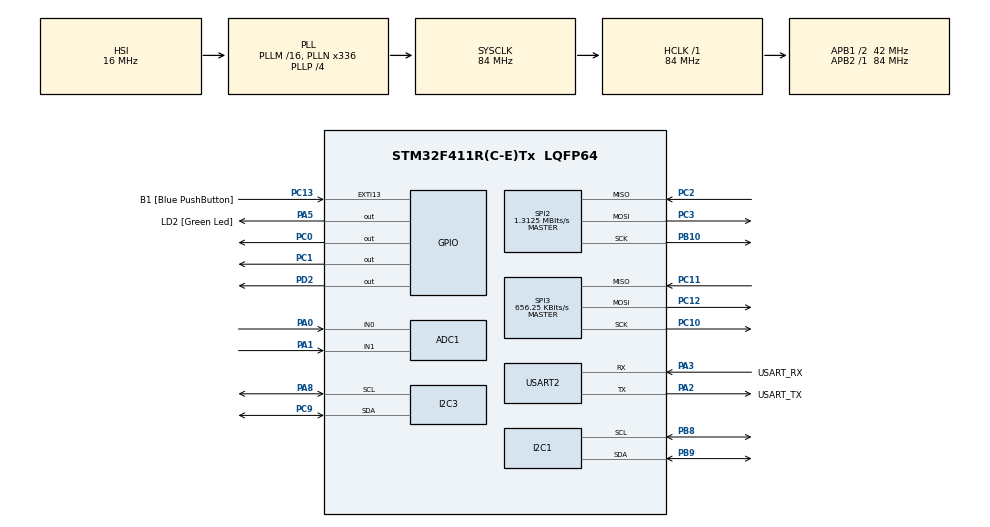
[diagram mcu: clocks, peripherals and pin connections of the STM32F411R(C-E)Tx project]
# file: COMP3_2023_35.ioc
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ADC1.Channel-0\#ChannelRegularConversion=ADC_CHANNEL_0
ADC1.Channel-1\#ChannelRegularConversion=ADC_CHANNEL_1
ADC1.ContinuousConvMode=ENABLE
ADC1.DMAContinuousRequests=ENABLE
ADC1.NbrOfConversion=2
ADC1.NbrOfConversionFlag=1
ADC1.Rank-0\#ChannelRegularConversion=1
ADC1.Rank-1\#ChannelRegularConversion=2
ADC1.SamplingTime-0\#ChannelRegularConversion=ADC_SAMPLETIME_56CYCLES
ADC1.SamplingTime-1\#ChannelRegularConversion=ADC_SAMPLETIME_56CYCLES
ADC1.master=1
Dma.ADC1.4.Direction=DMA_PERIPH_TO_MEMORY
Dma.ADC1.4.FIFOMode=DMA_FIFOMODE_DISABLE
Dma.ADC1.4.Instance=DMA2_Stream0
Dma.ADC1.4.MemDataAlignment=DMA_MDATAALIGN_HALFWORD
Dma.ADC1.4.MemInc=DMA_MINC_ENABLE
Dma.ADC1.4.Mode=DMA_CIRCULAR
Dma.ADC1.4.PeriphDataAlignment=DMA_PDATAALIGN_HALFWORD
Dma.ADC1.4.PeriphInc=DMA_PINC_DISABLE
Dma.ADC1.4.Priority=DMA_PRIORITY_LOW
Dma.I2C1_RX.2.Direction=DMA_PERIPH_TO_MEMORY
Dma.I2C1_RX.2.FIFOMode=DMA_FIFOMODE_DISABLE
Dma.I2C1_RX.2.Instance=DMA1_Stream0
Dma.I2C1_RX.2.MemDataAlignment=DMA_MDATAALIGN_WORD
Dma.I2C1_RX.2.MemInc=DMA_MINC_ENABLE
Dma.I2C1_RX.2.Mode=DMA_NORMAL
Dma.I2C1_RX.2.PeriphDataAlignment=DMA_PDATAALIGN_WORD
Dma.I2C1_RX.2.PeriphInc=DMA_PINC_DISABLE
Dma.I2C1_RX.2.Priority=DMA_PRIORITY_LOW
Dma.I2C1_TX.3.Direction=DMA_MEMORY_TO_PERIPH
Dma.I2C1_TX.3.FIFOMode=DMA_FIFOMODE_DISABLE
Dma.I2C1_TX.3.Instance=DMA1_Stream1
Dma.I2C1_TX.3.MemDataAlignment=DMA_MDATAALIGN_WORD
Dma.I2C1_TX.3.MemInc=DMA_MINC_ENABLE
Dma.I2C1_TX.3.Mode=DMA_NORMAL
Dma.I2C1_TX.3.PeriphDataAlignment=DMA_PDATAALIGN_WORD
Dma.I2C1_TX.3.PeriphInc=DMA_PINC_DISABLE
Dma.I2C1_TX.3.Priority=DMA_PRIORITY_LOW
Dma.I2C3_RX.5.Direction=DMA_PERIPH_TO_MEMORY
Dma.I2C3_RX.5.FIFOMode=DMA_FIFOMODE_DISABLE
Dma.I2C3_RX.5.Instance=DMA1_Stream2
Dma.I2C3_RX.5.MemDataAlignment=DMA_MDATAALIGN_BYTE
Dma.I2C3_RX.5.MemInc=DMA_MINC_ENABLE
Dma.I2C3_RX.5.Mode=DMA_NORMAL
Dma.I2C3_RX.5.PeriphDataAlignment=DMA_PDATAALIGN_BYTE
Dma.I2C3_RX.5.PeriphInc=DMA_PINC_DISABLE
Dma.I2C3_RX.5.Priority=DMA_PRIORITY_LOW
Dma.I2C3_TX.6.Direction=DMA_MEMORY_TO_PERIPH
Dma.I2C3_TX.6.FIFOMode=DMA_FIFOMODE_DISABLE
Dma.I2C3_TX.6.Instance=DMA1_Stream4
Dma.I2C3_TX.6.MemDataAlignment=DMA_MDATAALIGN_BYTE
Dma.I2C3_TX.6.MemInc=DMA_MINC_ENABLE
Dma.I2C3_TX.6.Mode=DMA_NORMAL
Dma.I2C3_TX.6.PeriphDataAlignment=DMA_PDATAALIGN_BYTE
Dma.I2C3_TX.6.PeriphInc=DMA_PINC_DISABLE
Dma.I2C3_TX.6.Priority=DMA_PRIORITY_LOW
Dma.Request0=USART2_RX
Dma.Request1=USART2_TX
Dma.Request2=I2C1_RX
Dma.Request3=I2C1_TX
Dma.Request4=ADC1
Dma.Request5=I2C3_RX
Dma.Request6=I2C3_TX
Dma.USART2_RX.0.Direction=DMA_PERIPH_TO_MEMORY
Dma.USART2_RX.0.FIFOMode=DMA_FIFOMODE_DISABLE
Dma.USART2_RX.0.Instance=DMA1_Stream5
Dma.USART2_RX.0.MemDataAlignment=DMA_MDATAALIGN_BYTE
Dma.USART2_RX.0.MemInc=DMA_MINC_ENABLE
Dma.USART2_RX.0.Mode=DMA_CIRCULAR
Dma.USART2_RX.0.PeriphDataAlignment=DMA_PDATAALIGN_BYTE
Dma.USART2_RX.0.PeriphInc=DMA_PINC_DISABLE
Dma.USART2_RX.0.Priority=DMA_PRIORITY_LOW
Dma.USART2_TX.1.Direction=DMA_MEMORY_TO_PERIPH
Dma.USART2_TX.1.FIFOMode=DMA_FIFOMODE_DISABLE
Dma.USART2_TX.1.Instance=DMA1_Stream6
Dma.USART2_TX.1.MemDataAlignment=DMA_MDATAALIGN_BYTE
Dma.USART2_TX.1.MemInc=DMA_MINC_ENABLE
Dma.USART2_TX.1.Mode=DMA_NORMAL
Dma.USART2_TX.1.PeriphDataAlignment=DMA_PDATAALIGN_BYTE
Dma.USART2_TX.1.PeriphInc=DMA_PINC_DISABLE
Dma.USART2_TX.1.Priority=DMA_PRIORITY_LOW
I2C1.I2C_Mode=I2C_Fast
I2C3.I2C_Mode=I2C_Fast
Mcu.Family=STM32F4
Mcu.Name=STM32F411R(C-E)Tx
Mcu.Package=LQFP64
NVIC.DMA1_Stream0_IRQn=true\:0\:0\:false\:false\:true\:false\:true\:true
NVIC.DMA1_Stream1_IRQn=true\:0\:0\:false\:false\:true\:false\:true\:true
NVIC.DMA1_Stream2_IRQn=true\:0\:0\:false\:false\:true\:false\:true\:true
NVIC.DMA1_Stream4_IRQn=true\:0\:0\:false\:false\:true\:false\:true\:true
NVIC.DMA1_Stream5_IRQn=true\:0\:0\:false\:false\:true\:false\:true\:true
NVIC.DMA1_Stream6_IRQn=true\:0\:0\:false\:false\:true\:false\:true\:true
NVIC.DMA2_Stream0_IRQn=true\:0\:0\:false\:false\:true\:false\:true\:true
NVIC.I2C1_ER_IRQn=true\:0\:0\:false\:false\:true\:true\:true\:true
NVIC.I2C1_EV_IRQn=true\:0\:0\:false\:false\:true\:true\:true\:true
NVIC.I2C3_ER_IRQn=true\:0\:0\:false\:false\:true\:true\:true\:true
NVIC.I2C3_EV_IRQn=true\:0\:0\:false\:false\:true\:true\:true\:true
NVIC.PriorityGroup=NVIC_PRIORITYGROUP_0
NVIC.SPI2_IRQn=true\:0\:0\:false\:false\:true\:true\:true\:true
NVIC.SPI3_IRQn=true\:0\:0\:false\:false\:true\:true\:true\:true
NVIC.USART2_IRQn=true\:0\:0\:false\:false\:true\:true\:true\:true
PA0-WKUP.Signal=ADCx_IN0
PA1.Signal=ADCx_IN1
PA13.GPIO_Label=TMS
PA13.Mode=Serial_Wire
PA13.Signal=SYS_JTMS-SWDIO
PA14.GPIO_Label=TCK
PA14.Mode=Serial_Wire
PA14.Signal=SYS_JTCK-SWCLK
PA2.GPIO_Label=USART_TX
PA2.Mode=Asynchronous
PA2.Signal=USART2_TX
PA3.GPIO_Label=USART_RX
PA3.Mode=Asynchronous
PA3.Signal=USART2_RX
PA5.GPIO_Label=LD2 [Green Led]
PA5.Signal=GPIO_Output
PA8.Mode=I2C
PA8.Signal=I2C3_SCL
PB10.Mode=Full_Duplex_Master
PB10.Signal=SPI2_SCK
PB3.GPIO_Label=SWO
PB3.Signal=SYS_JTDO-SWO
PB8.Mode=I2C
PB8.Signal=I2C1_SCL
PB9.Mode=I2C
PB9.Signal=I2C1_SDA
PC0.PinState=GPIO_PIN_SET
PC0.Signal=GPIO_Output
PC1.PinState=GPIO_PIN_SET
PC1.Signal=GPIO_Output
PC10.Mode=Full_Duplex_Master
PC10.Signal=SPI3_SCK
PC11.Mode=Full_Duplex_Master
PC11.Signal=SPI3_MISO
PC12.Mode=Full_Duplex_Master
PC12.Signal=SPI3_MOSI
PC13-ANTI_TAMP.GPIO_Label=B1 [Blue PushButton]
PC13-ANTI_TAMP.GPIO_ModeDefaultEXTI=GPIO_MODE_IT_FALLING
PC13-ANTI_TAMP.Signal=GPXTI13
PC14-OSC32_IN.Mode=LSE-External-Oscillator
PC14-OSC32_IN.Signal=RCC_OSC32_IN
PC15-OSC32_OUT.Mode=LSE-External-Oscillator
PC15-OSC32_OUT.Signal=RCC_OSC32_OUT
PC2.Mode=Full_Duplex_Master
PC2.Signal=SPI2_MISO
PC3.Mode=Full_Duplex_Master
PC3.Signal=SPI2_MOSI
PC9.Mode=I2C
PC9.Signal=I2C3_SDA
PD2.PinState=GPIO_PIN_SET
PD2.Signal=GPIO_Output
PH0\ -\ OSC_IN.Mode=HSE-External-Clock-Source
PH0\ -\ OSC_IN.Signal=RCC_OSC_IN
PH1\ -\ OSC_OUT.Mode=HSE-External-Clock-Source
PH1\ -\ OSC_OUT.Signal=RCC_OSC_OUT
ProjectManager.HeapSize=0x200
ProjectManager.StackSize=0x400
ProjectManager.TargetToolchain=STM32CubeIDE
RCC.48MHZClocksFreq_Value=84000000
RCC.AHBFreq_Value=84000000
RCC.APB1CLKDivider=RCC_HCLK_DIV2
RCC.APB1Freq_Value=42000000
RCC.APB1TimFreq_Value=84000000
RCC.APB2Freq_Value=84000000
RCC.APB2TimFreq_Value=84000000
RCC.CortexFreq_Value=84000000
RCC.FLatency-AdvancedSettings=FLASH_LATENCY_2
RCC.HCLKFreq_Value=84000000
RCC.HSE_VALUE=8000000
RCC.HSI_VALUE=16000000
RCC.PLLN=336
RCC.PLLP=RCC_PLLP_DIV4
RCC.SYSCLKFreq_VALUE=84000000
RCC.SYSCLKSource=RCC_SYSCLKSOURCE_PLLCLK
RCC.VCOOutputFreq_Value=336000000
SH.ADCx_IN0.0=ADC1_IN0,IN0
SH.ADCx_IN1.0=ADC1_IN1,IN1
SPI2.BaudRatePrescaler=SPI_BAUDRATEPRESCALER_32
SPI2.CLKPhase=SPI_PHASE_2EDGE
SPI2.CLKPolarity=SPI_POLARITY_HIGH
SPI2.CalculateBaudRate=1.3125 MBits/s
SPI2.DataSize=SPI_DATASIZE_16BIT
SPI2.Direction=SPI_DIRECTION_2LINES
SPI2.Mode=SPI_MODE_MASTER
SPI2.VirtualType=VM_MASTER
SPI3.BaudRatePrescaler=SPI_BAUDRATEPRESCALER_64
SPI3.CLKPhase=SPI_PHASE_2EDGE
SPI3.CLKPolarity=SPI_POLARITY_HIGH
SPI3.CalculateBaudRate=656.25 KBits/s
SPI3.Direction=SPI_DIRECTION_2LINES
SPI3.Mode=SPI_MODE_MASTER
SPI3.VirtualType=VM_MASTER
USART2.StopBits=STOPBITS_1
USART2.VirtualMode=VM_ASYNC
board=NUCLEO-F411RE

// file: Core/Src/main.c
/* USER CODE BEGIN Header */
/**
  ******************************************************************************
  * @file           : main.c
  * @brief          : Main program body
  ******************************************************************************
  * @attention
  *
  * Copyright (c) 2023 STMicroelectronics.
  * All rights reserved.
  *
  * This software is licensed under terms that can be found in the LICENSE file
  * in the root directory of this software component.
  * If no LICENSE file comes with this software, it is provided AS-IS.
  *
  ******************************************************************************
  */
/* USER CODE END Header */
#include "main.h"

/* USER CODE BEGIN Includes */

#include "stdio.h"
#include "string.h"

/* USER CODE END Includes */

/* USER CODE BEGIN PD */

#define EEPROM_ADDR 0b10100000

/* USER CODE END PD */

ADC_HandleTypeDef hadc1;
DMA_HandleTypeDef hdma_adc1;

I2C_HandleTypeDef hi2c1;
I2C_HandleTypeDef hi2c3;
DMA_HandleTypeDef hdma_i2c1_rx;
DMA_HandleTypeDef hdma_i2c1_tx;
DMA_HandleTypeDef hdma_i2c3_rx;
DMA_HandleTypeDef hdma_i2c3_tx;

SPI_HandleTypeDef hspi2;
SPI_HandleTypeDef hspi3;

UART_HandleTypeDef huart2;
DMA_HandleTypeDef hdma_usart2_rx;
DMA_HandleTypeDef hdma_usart2_tx;

/* USER CODE BEGIN PV */

// Ceaser_Cipher
// 2 stop bit and 115200
uint8_t RxBuffer[2];
uint8_t TxBuffer[100];
int button;
char character;
int condition = 0;
char state;

// calculator
uint8_t receive[2];
char sign;
char first_number;
char second_number;
char equal;
int state_cal = 0;
int condition_cal = 0;
uint16_t Answer = 0;

// PID 24LC64
// SCL-PB8,SDA-PB9
uint32_t Kp = 0x12;
uint8_t Kp_sep[4];
uint32_t Ki = 0x22;
uint8_t Ki_sep[4];
uint32_t Kd = 0x13;
uint8_t Kd_sep[4];
uint32_t Kff = 0x44;
uint8_t Kff_sep[4];
uint8_t eepromWriteF = 0;
uint8_t eepromReadF = 0;
uint8_t eepromReadBack[16];
uint8_t PID_data[16];

// SPI_LED_5
// CS-PD2, SCK-PC10, MOSI-PC12, MISO-PC11
uint8_t SPIRx[10];
uint8_t SPITx[10];
uint8_t LEDstate = 0;

// SPI_VOLT_ADC_6
uint16_t VOLTRx[16];
uint16_t VOLTTx[16];
//uint8_t LEDstate = 0;
uint16_t adcRawData[30];
float Voltage = 0;
float sum_Voltage = 0;
float avg_Voltage = 0;

uint32_t timestamp = 0;

/* USER CODE END PV */

void SystemClock_Config(void);
static void MX_GPIO_Init(void);
static void MX_DMA_Init(void);
static void MX_USART2_UART_Init(void);
static void MX_I2C1_Init(void);
static void MX_I2C3_Init(void);
static void MX_SPI3_Init(void);
static void MX_SPI2_Init(void);
static void MX_ADC1_Init(void);
/* USER CODE BEGIN PFP */

// 1
void UARTCeaserCipherConfig();
void HAL_UART_RxCpltCallback(UART_HandleTypeDef *huart);
void ceaser_cipher(state);

//2
void UARTCalculatorConfig();
void HAL_UART_RxCpltCallback(UART_HandleTypeDef *huart);
void Calculator(state);

// 3
void Kp_Seperate(Kp);
void Ki_Seperate(Ki);
void Kd_Seperate(Kd);
void Kff_Seperate(Kff);
void EEPROMWrite();
void EEPROMRead(uint8_t *Rdata,uint16_t len);

//5
void SPITxRx_Setup();
void SPITxRx_readIO();
void setOutputGPIOB();
void SPITxRx_writeIO();
void HAL_SPI_TxRxCpltCallback(SPI_HandleTypeDef *hspi);
void Set_SPI_LED();

/* USER CODE END PFP */

int main(void)
{

  /* MCU Configuration--------------------------------------------------------*/

  /* Reset of all peripherals, Initializes the Flash interface and the Systick. */
  HAL_Init();

  /* Configure the system clock */
  SystemClock_Config();

  /* Initialize all configured peripherals */
  MX_GPIO_Init();
  MX_DMA_Init();
  MX_USART2_UART_Init();
  MX_I2C1_Init();
  MX_I2C3_Init();
  MX_SPI3_Init();
  MX_SPI2_Init();
  MX_ADC1_Init();
  /* USER CODE BEGIN 2 */

  // Ceaser_Cipher
//  uint8_t text[] = "1: Encrypt \r\n2 : Decode\r\n";
//  HAL_UART_Transmit(&huart2, text, 25, 10);
//  UARTCeaserCipherConfig();

  // Calculator
  	UARTCalculatorConfig();
	uint8_t text[] = "\r\n-------Calculator : press number please------\r\n";
	HAL_UART_Transmit(&huart2, text, 50, 10);

  // SPI_LED_5
 	SPITxRx_Setup();
 	setOutputGPIOB();

  // SPI_VOLT_6
//  SPI_voltage_set();

  /* USER CODE END 2 */

  /* Infinite loop */
  while (1)
  {

    /* USER CODE BEGIN 3 */

	  // I2C_PID 24LC64
	  Kp_Seperate(Kp);
	  Ki_Seperate(Ki);
	  Kd_Seperate(Kd);
	  Kff_Seperate(Kff);
	  EEPROMWrite();
	  EEPROMRead(eepromReadBack,16);

	  // SPI_LED_5
	  Set_SPI_LED();

	  // SPI_VOLT_6
//	  write_spi();
//
//	  static uint32_t timestamp = 0;
//	  if(HAL_GetTick() > timestamp)
//	  {
//		timestamp = HAL_GetTick() + 10;
//		LEDstate++;
//		LEDstate = LEDstate % 2;
//		switch (LEDstate)
//			{
//			case 0:
//				SPI_voltage_set();
//				break;
//			case 1:
//	  			MCP4922_SetVoltage(3300);
//				write_voltage();
//				voltage();
//				break;
//		}
//	  }
//	  SPITxRx_readIO();
	}
  /* USER CODE END 3 */
}

void SystemClock_Config(void)
{
  RCC_OscInitTypeDef RCC_OscInitStruct = {0};
  RCC_ClkInitTypeDef RCC_ClkInitStruct = {0};

  /** Configure the main internal regulator output voltage
  */
  __HAL_RCC_PWR_CLK_ENABLE();
  __HAL_PWR_VOLTAGESCALING_CONFIG(PWR_REGULATOR_VOLTAGE_SCALE1);

  /** Initializes the RCC Oscillators according to the specified parameters
  * in the RCC_OscInitTypeDef structure.
  */
  RCC_OscInitStruct.OscillatorType = RCC_OSCILLATORTYPE_HSI;
  RCC_OscInitStruct.HSIState = RCC_HSI_ON;
  RCC_OscInitStruct.HSICalibrationValue = RCC_HSICALIBRATION_DEFAULT;
  RCC_OscInitStruct.PLL.PLLState = RCC_PLL_ON;
  RCC_OscInitStruct.PLL.PLLSource = RCC_PLLSOURCE_HSI;
  RCC_OscInitStruct.PLL.PLLM = 16;
  RCC_OscInitStruct.PLL.PLLN = 336;
  RCC_OscInitStruct.PLL.PLLP = RCC_PLLP_DIV4;
  RCC_OscInitStruct.PLL.PLLQ = 4;
  if (HAL_RCC_OscConfig(&RCC_OscInitStruct) != HAL_OK)
  {
    Error_Handler();
  }

  /** Initializes the CPU, AHB and APB buses clocks
  */
  RCC_ClkInitStruct.ClockType = RCC_CLOCKTYPE_HCLK|RCC_CLOCKTYPE_SYSCLK
                              |RCC_CLOCKTYPE_PCLK1|RCC_CLOCKTYPE_PCLK2;
  RCC_ClkInitStruct.SYSCLKSource = RCC_SYSCLKSOURCE_PLLCLK;
  RCC_ClkInitStruct.AHBCLKDivider = RCC_SYSCLK_DIV1;
  RCC_ClkInitStruct.APB1CLKDivider = RCC_HCLK_DIV2;
  RCC_ClkInitStruct.APB2CLKDivider = RCC_HCLK_DIV1;

  if (HAL_RCC_ClockConfig(&RCC_ClkInitStruct, FLASH_LATENCY_2) != HAL_OK)
  {
    Error_Handler();
  }
}

static void MX_ADC1_Init(void)
{

  ADC_ChannelConfTypeDef sConfig = {0};

  /** Configure the global features of the ADC (Clock, Resolution, Data Alignment and number of conversion)
  */
  hadc1.Instance = ADC1;
  hadc1.Init.ClockPrescaler = ADC_CLOCK_SYNC_PCLK_DIV4;
  hadc1.Init.Resolution = ADC_RESOLUTION_12B;
  hadc1.Init.ScanConvMode = ENABLE;
  hadc1.Init.ContinuousConvMode = ENABLE;
  hadc1.Init.DiscontinuousConvMode = DISABLE;
  hadc1.Init.ExternalTrigConvEdge = ADC_EXTERNALTRIGCONVEDGE_NONE;
  hadc1.Init.ExternalTrigConv = ADC_SOFTWARE_START;
  hadc1.Init.DataAlign = ADC_DATAALIGN_RIGHT;
  hadc1.Init.NbrOfConversion = 2;
  hadc1.Init.DMAContinuousRequests = ENABLE;
  hadc1.Init.EOCSelection = ADC_EOC_SINGLE_CONV;
  if (HAL_ADC_Init(&hadc1) != HAL_OK)
  {
    Error_Handler();
  }

  /** Configure for the selected ADC regular channel its corresponding rank in the sequencer and its sample time.
  */
  sConfig.Channel = ADC_CHANNEL_0;
  sConfig.Rank = 1;
  sConfig.SamplingTime = ADC_SAMPLETIME_56CYCLES;
  if (HAL_ADC_ConfigChannel(&hadc1, &sConfig) != HAL_OK)
  {
    Error_Handler();
  }

  /** Configure for the selected ADC regular channel its corresponding rank in the sequencer and its sample time.
  */
  sConfig.Channel = ADC_CHANNEL_1;
  sConfig.Rank = 2;
  if (HAL_ADC_ConfigChannel(&hadc1, &sConfig) != HAL_OK)
  {
    Error_Handler();
  }

}

static void MX_I2C1_Init(void)
{

  hi2c1.Instance = I2C1;
  hi2c1.Init.ClockSpeed = 400000;
  hi2c1.Init.DutyCycle = I2C_DUTYCYCLE_2;
  hi2c1.Init.OwnAddress1 = 0;
  hi2c1.Init.AddressingMode = I2C_ADDRESSINGMODE_7BIT;
  hi2c1.Init.DualAddressMode = I2C_DUALADDRESS_DISABLE;
  hi2c1.Init.OwnAddress2 = 0;
  hi2c1.Init.GeneralCallMode = I2C_GENERALCALL_DISABLE;
  hi2c1.Init.NoStretchMode = I2C_NOSTRETCH_DISABLE;
  if (HAL_I2C_Init(&hi2c1) != HAL_OK)
  {
    Error_Handler();
  }

}

static void MX_I2C3_Init(void)
{

  hi2c3.Instance = I2C3;
  hi2c3.Init.ClockSpeed = 400000;
  hi2c3.Init.DutyCycle = I2C_DUTYCYCLE_2;
  hi2c3.Init.OwnAddress1 = 0;
  hi2c3.Init.AddressingMode = I2C_ADDRESSINGMODE_7BIT;
  hi2c3.Init.DualAddressMode = I2C_DUALADDRESS_DISABLE;
  hi2c3.Init.OwnAddress2 = 0;
  hi2c3.Init.GeneralCallMode = I2C_GENERALCALL_DISABLE;
  hi2c3.Init.NoStretchMode = I2C_NOSTRETCH_DISABLE;
  if (HAL_I2C_Init(&hi2c3) != HAL_OK)
  {
    Error_Handler();
  }

}

static void MX_SPI2_Init(void)
{

  /* SPI2 parameter configuration*/
  hspi2.Instance = SPI2;
  hspi2.Init.Mode = SPI_MODE_MASTER;
  hspi2.Init.Direction = SPI_DIRECTION_2LINES;
  hspi2.Init.DataSize = SPI_DATASIZE_16BIT;
  hspi2.Init.CLKPolarity = SPI_POLARITY_HIGH;
  hspi2.Init.CLKPhase = SPI_PHASE_2EDGE;
  hspi2.Init.NSS = SPI_NSS_SOFT;
  hspi2.Init.BaudRatePrescaler = SPI_BAUDRATEPRESCALER_32;
  hspi2.Init.FirstBit = SPI_FIRSTBIT_MSB;
  hspi2.Init.TIMode = SPI_TIMODE_DISABLE;
  hspi2.Init.CRCCalculation = SPI_CRCCALCULATION_DISABLE;
  hspi2.Init.CRCPolynomial = 10;
  if (HAL_SPI_Init(&hspi2) != HAL_OK)
  {
    Error_Handler();
  }

}

static void MX_SPI3_Init(void)
{

  /* SPI3 parameter configuration*/
  hspi3.Instance = SPI3;
  hspi3.Init.Mode = SPI_MODE_MASTER;
  hspi3.Init.Direction = SPI_DIRECTION_2LINES;
  hspi3.Init.DataSize = SPI_DATASIZE_8BIT;
  hspi3.Init.CLKPolarity = SPI_POLARITY_HIGH;
  hspi3.Init.CLKPhase = SPI_PHASE_2EDGE;
  hspi3.Init.NSS = SPI_NSS_SOFT;
  hspi3.Init.BaudRatePrescaler = SPI_BAUDRATEPRESCALER_64;
  hspi3.Init.FirstBit = SPI_FIRSTBIT_MSB;
  hspi3.Init.TIMode = SPI_TIMODE_DISABLE;
  hspi3.Init.CRCCalculation = SPI_CRCCALCULATION_DISABLE;
  hspi3.Init.CRCPolynomial = 10;
  if (HAL_SPI_Init(&hspi3) != HAL_OK)
  {
    Error_Handler();
  }

}

static void MX_USART2_UART_Init(void)
{

  huart2.Instance = USART2;
  huart2.Init.BaudRate = 115200;
  huart2.Init.WordLength = UART_WORDLENGTH_8B;
  huart2.Init.StopBits = UART_STOPBITS_1;
  huart2.Init.Parity = UART_PARITY_NONE;
  huart2.Init.Mode = UART_MODE_TX_RX;
  huart2.Init.HwFlowCtl = UART_HWCONTROL_NONE;
  huart2.Init.OverSampling = UART_OVERSAMPLING_16;
  if (HAL_UART_Init(&huart2) != HAL_OK)
  {
    Error_Handler();
  }

}

static void MX_DMA_Init(void)
{

  /* DMA controller clock enable */
  __HAL_RCC_DMA1_CLK_ENABLE();
  __HAL_RCC_DMA2_CLK_ENABLE();

  /* DMA interrupt init */
  /* DMA1_Stream0_IRQn interrupt configuration */
  HAL_NVIC_SetPriority(DMA1_Stream0_IRQn, 0, 0);
  HAL_NVIC_EnableIRQ(DMA1_Stream0_IRQn);
  /* DMA1_Stream1_IRQn interrupt configuration */
  HAL_NVIC_SetPriority(DMA1_Stream1_IRQn, 0, 0);
  HAL_NVIC_EnableIRQ(DMA1_Stream1_IRQn);
  /* DMA1_Stream2_IRQn interrupt configuration */
  HAL_NVIC_SetPriority(DMA1_Stream2_IRQn, 0, 0);
  HAL_NVIC_EnableIRQ(DMA1_Stream2_IRQn);
  /* DMA1_Stream4_IRQn interrupt configuration */
  HAL_NVIC_SetPriority(DMA1_Stream4_IRQn, 0, 0);
  HAL_NVIC_EnableIRQ(DMA1_Stream4_IRQn);
  /* DMA1_Stream5_IRQn interrupt configuration */
  HAL_NVIC_SetPriority(DMA1_Stream5_IRQn, 0, 0);
  HAL_NVIC_EnableIRQ(DMA1_Stream5_IRQn);
  /* DMA1_Stream6_IRQn interrupt configuration */
  HAL_NVIC_SetPriority(DMA1_Stream6_IRQn, 0, 0);
  HAL_NVIC_EnableIRQ(DMA1_Stream6_IRQn);
  /* DMA2_Stream0_IRQn interrupt configuration */
  HAL_NVIC_SetPriority(DMA2_Stream0_IRQn, 0, 0);
  HAL_NVIC_EnableIRQ(DMA2_Stream0_IRQn);

}

static void MX_GPIO_Init(void)
{
  GPIO_InitTypeDef GPIO_InitStruct = {0};

  /* GPIO Ports Clock Enable */
  __HAL_RCC_GPIOC_CLK_ENABLE();
  __HAL_RCC_GPIOH_CLK_ENABLE();
  __HAL_RCC_GPIOA_CLK_ENABLE();
  __HAL_RCC_GPIOB_CLK_ENABLE();
  __HAL_RCC_GPIOD_CLK_ENABLE();

  /*Configure GPIO pin Output Level */
  HAL_GPIO_WritePin(GPIOC, GPIO_PIN_0|GPIO_PIN_1, GPIO_PIN_SET);

  /*Configure GPIO pin Output Level */
  HAL_GPIO_WritePin(LD2_GPIO_Port, LD2_Pin, GPIO_PIN_RESET);

  /*Configure GPIO pin Output Level */
  HAL_GPIO_WritePin(GPIOD, GPIO_PIN_2, GPIO_PIN_SET);

  /*Configure GPIO pin : B1_Pin */
  GPIO_InitStruct.Pin = B1_Pin;
  GPIO_InitStruct.Mode = GPIO_MODE_IT_FALLING;
  GPIO_InitStruct.Pull = GPIO_NOPULL;
  HAL_GPIO_Init(B1_GPIO_Port, &GPIO_InitStruct);

  /*Configure GPIO pins : PC0 PC1 */
  GPIO_InitStruct.Pin = GPIO_PIN_0|GPIO_PIN_1;
  GPIO_InitStruct.Mode = GPIO_MODE_OUTPUT_PP;
  GPIO_InitStruct.Pull = GPIO_NOPULL;
  GPIO_InitStruct.Speed = GPIO_SPEED_FREQ_LOW;
  HAL_GPIO_Init(GPIOC, &GPIO_InitStruct);

  /*Configure GPIO pin : LD2_Pin */
  GPIO_InitStruct.Pin = LD2_Pin;
  GPIO_InitStruct.Mode = GPIO_MODE_OUTPUT_PP;
  GPIO_InitStruct.Pull = GPIO_NOPULL;
  GPIO_InitStruct.Speed = GPIO_SPEED_FREQ_LOW;
  HAL_GPIO_Init(LD2_GPIO_Port, &GPIO_InitStruct);

  /*Configure GPIO pin : PD2 */
  GPIO_InitStruct.Pin = GPIO_PIN_2;
  GPIO_InitStruct.Mode = GPIO_MODE_OUTPUT_PP;
  GPIO_InitStruct.Pull = GPIO_NOPULL;
  GPIO_InitStruct.Speed = GPIO_SPEED_FREQ_LOW;
  HAL_GPIO_Init(GPIOD, &GPIO_InitStruct);

}

/* USER CODE BEGIN 4 */

//ceaser_cipher

	// confic
//void UARTCeaserCipherConfig()
//{
//	//start UART in DMA Mode
//	HAL_UART_Receive_DMA(&huart2, RxBuffer, 1);
//}
//
//	 //check
//void HAL_UART_RxCpltCallback(UART_HandleTypeDef *huart)
//{
//	if(huart == &huart2)
//	{
//		RxBuffer[1] = '\0';
//
//		if(RxBuffer[0]=='1')button = '1';
//		else if(RxBuffer[0]=='2')button = '2';
//		else if(RxBuffer[0]=='3')button = '3';
//		else if((97 <= RxBuffer[0]) && (RxBuffer[0]<= 122))button = 'z';
//		else if((65 <= RxBuffer[0]) && (RxBuffer[0]<= 90))button = 'z';
//		else button = '4';
//
//		ceaser_cipher(button);
//
//	}
//}
//
//	 //switch case
//void ceaser_cipher(state)
//{
//	switch(state)
//		{
//			case '1':
//			{
//				if (condition == 0)
//				{
//				sprintf((char*)TxBuffer, "----ENCRYPT----\r\n");
//				HAL_UART_Transmit_DMA(&huart2, TxBuffer, strlen((char*)TxBuffer));
//				condition = 2;
//				}
//
//			}
//			break;
//
//			case '2':
//			{
//				if (condition == 0)
//				{
//				character = RxBuffer[0]-3;
//				sprintf((char*)TxBuffer, "----DECODE----\r\n");
//				HAL_UART_Transmit_DMA(&huart2, TxBuffer, strlen((char*)TxBuffer));
//				condition = 3;
//				}
//			}
//			break;
//
//			case '3':
//			{
//				if ((condition == 0) || (condition == 1) || (condition == 2) || (condition == 3))
//				{
//				character = RxBuffer[0]+3;
//				sprintf((char*)TxBuffer, "1: Encrypt \r\n2: Decode\r\n");
//				HAL_UART_Transmit_DMA(&huart2, TxBuffer, strlen((char*)TxBuffer));
//				condition = 0;
//				}
//			}
//			break;
//
//			case '4':
//			{
//				if (condition == 0)
//				{
//				character = RxBuffer[0]+3;
//				sprintf((char*)TxBuffer, "again\r\n");
//				HAL_UART_Transmit_DMA(&huart2, TxBuffer, strlen((char*)TxBuffer));
//				condition = 0;
//				}
//				else if (condition == 1)
//				{
//				character = RxBuffer[0]+3;
//				sprintf((char*)TxBuffer, "again\r\n");
//				HAL_UART_Transmit_DMA(&huart2, TxBuffer, strlen((char*)TxBuffer));
//				condition = 1;
//				}
//				else if (condition == 2)
//				{
//				character = RxBuffer[0]+3;
//				sprintf((char*)TxBuffer, "again\r\n");
//				HAL_UART_Transmit_DMA(&huart2, TxBuffer, strlen((char*)TxBuffer));
//				condition = 2;
//				}
//				else if (condition == 3)
//				{
//				character = RxBuffer[0]+3;
//				sprintf((char*)TxBuffer, "again\r\n");
//				HAL_UART_Transmit_DMA(&huart2, TxBuffer, strlen((char*)TxBuffer));
//				condition = 3;
//				}
//			}
//			break;
//
//			case 'z':
//			{
//				if ((condition == 2) || (condition == 1))
//				{
//				character = RxBuffer[0]+3;
//					if ((97 <= RxBuffer[0]) && (RxBuffer[0]<= 122) && (character > 122))
//					{
//						character = (character%122) + 96;
//					}
//					else if ((65 <= RxBuffer[0]) && (RxBuffer[0]<= 90) && (character > 90))
//					{
//						character = (character%122) + 64;
//					}
//				sprintf((char*)TxBuffer, "Received : %c\r\n3 : back\r\n",character);
//				HAL_UART_Transmit_DMA(&huart2, TxBuffer, strlen((char*)TxBuffer));
//				condition = 2;
//				}
//				else if ((condition == 3) || (condition == 1))
//				{
//				character = RxBuffer[0]-3;
//					if ((97 <= RxBuffer[0]) && (RxBuffer[0]<= 122) && (character < 97))
//					{
//						character = character + 26;
//					}
//					else if ((65 <= RxBuffer[0]) && (RxBuffer[0]<= 90) && (character < 65))
//					{
//						character = character + 26;
//					}
//				sprintf((char*)TxBuffer, "Received : %c\r\n3 : back\r\n",character);
//				HAL_UART_Transmit_DMA(&huart2, TxBuffer, strlen((char*)TxBuffer));
//				condition = 3;
//				}
//			}
//			break;
//		}
//
//}

// Calculator

	// config
void UARTCalculatorConfig()
{
	//start UART in DMA Mode
	HAL_UART_Receive_DMA(&huart2, receive, 1);
}

	// check state
void HAL_UART_RxCpltCallback(UART_HandleTypeDef *huart)
{
	if(huart == &huart2)
	{
		receive[1] = '\0';

		if((48 <= receive[0]) && (receive[0]<= 59) && (condition_cal == 0))
		{
			first_number = receive[0]% 48;
			state_cal = 0;
			condition_cal = 0;
		}
		else if((48 <= receive[0]) && (receive[0]<= 59))
		{
			second_number = receive[0]% 48;
			state_cal = 2;
			if(condition_cal == 1)condition_cal = 1;
			else if (condition_cal == 3)condition_cal = 3;
		}
		else if((receive[0]=='+') || (receive[0]=='-') || (receive[0]=='*') || (receive[0]=='/'))
		{
			sign = receive[0];
			state_cal = 1;
			if((condition_cal == 0) || (condition_cal == 1))condition_cal = 1;
			else if (condition_cal == 3)condition_cal = 3;
		}
		else if (((receive[0] == 13) && (condition_cal == 1)) && ((state_cal == 2)||(state_cal == 5)))
		{
			equal = receive[0];
			state_cal = 3;
			condition_cal = 3;
		}
		else if((receive[0] == 13) && (condition_cal == 3))
		{
			equal = receive[0];
			state_cal = 4;
			condition_cal = 3;
		}
		else
		{
			state_cal = 5;
		}

		Calculator(state_cal);
	}
}

	// calculation
void Calculator(state)
{
	switch(state)
	{
		//firstnum
		case 0:
		{
			sprintf((char*)TxBuffer, "%d", first_number);
			HAL_UART_Transmit_DMA(&huart2, TxBuffer, strlen((char*)TxBuffer));
		}
		break;

		//sign
		case 1:
		{
			sprintf((char*)TxBuffer, "%c", sign);
			HAL_UART_Transmit_DMA(&huart2, TxBuffer, strlen((char*)TxBuffer));
		}
		break;

		//lastnum
		case 2:
		{
			sprintf((char*)TxBuffer, "%d", second_number);
			HAL_UART_Transmit_DMA(&huart2, TxBuffer, strlen((char*)TxBuffer));
		}
		break;

		// +_*/ first round
		case 3:
		{
			if(sign=='+')Answer = first_number + second_number;
			else if(sign=='-')Answer = first_number - second_number;
			else if(sign=='*')Answer = first_number * second_number;
			else if((sign=='/') && (second_number==0))Answer = 0;
			else if((sign=='/') && (second_number!=0))Answer = first_number / second_number;
			sprintf((char*)TxBuffer, "=%d", Answer);
			HAL_UART_Transmit_DMA(&huart2, TxBuffer, strlen((char*)TxBuffer));
		}
		break;

		// +_*/ next round
		case 4:
		{
			if(sign=='+')Answer += second_number;
			else if(sign=='-')Answer = Answer - second_number;
			else if((sign=='/') && (second_number==0))Answer = 0;
			else if((sign=='/') && (second_number!=0))Answer = Answer / second_number;
			sprintf((char*)TxBuffer, "=%d", Answer);
			HAL_UART_Transmit_DMA(&huart2, TxBuffer, strlen((char*)TxBuffer));
		}
		break;

		// other
		case 5:
		{
			sprintf((char*)TxBuffer, "\r\nplease press number again\r\n%d", Answer);
			HAL_UART_Transmit_DMA(&huart2, TxBuffer, strlen((char*)TxBuffer));
		}
		break;
	}

}

// PID 24LC64

	// set value Kp
void Kp_Seperate(Kp)
{
	Kp_sep[0] = (uint8_t)(Kp >> 24) & 0xFF;
	Kp_sep[1] = (uint8_t)(Kp >> 16) & 0xFF;
	Kp_sep[2] = (uint8_t)(Kp >> 8) & 0xFF;
	Kp_sep[3] = (uint8_t)(Kp) & 0xFF;
}

	// set value Ki
void Ki_Seperate(Ki)
{
	Ki_sep[0] = (uint8_t)(Ki >> 24) & 0xFF;
	Ki_sep[1] = (uint8_t)(Ki >> 16) & 0xFF;
	Ki_sep[2] = (uint8_t)(Ki >> 8) & 0xFF;
	Ki_sep[3] = (uint8_t)(Ki) & 0xFF;
}

	// set value Kd
void Kd_Seperate(Kd)
{
	Kd_sep[0] = (uint8_t)(Kd >> 24) & 0xFF;
	Kd_sep[1] = (uint8_t)(Kd >> 16) & 0xFF;
	Kd_sep[2] = (uint8_t)(Kd >> 8) & 0xFF;
	Kd_sep[3] = (uint8_t)(Kd) & 0xFF;
}

	// set value Kff
void Kff_Seperate(Kff)
{
	Kff_sep[0] = (uint8_t)(Kff >> 24) & 0xFF;
	Kff_sep[1] = (uint8_t)(Kff >> 16) & 0xFF;
	Kff_sep[2] = (uint8_t)(Kff >> 8) & 0xFF;
	Kff_sep[3] = (uint8_t)(Kff) & 0xFF;
}

void EEPROMWrite()
{
    if (eepromWriteF && hi2c1.State == HAL_I2C_STATE_READY)
    {
        static uint8_t PID_data[16];

        PID_data[0] = Kp_sep[0];
        PID_data[1] = Kp_sep[1];
        PID_data[2] = Kp_sep[2];
        PID_data[3] = Kp_sep[3];
        PID_data[4] = Ki_sep[0];
        PID_data[5] = Ki_sep[1];
        PID_data[6] = Ki_sep[2];
        PID_data[7] = Ki_sep[3];
        PID_data[8] = Kd_sep[0];
        PID_data[9] = Kd_sep[1];
        PID_data[10] = Kd_sep[2];
        PID_data[11] = Kd_sep[3];
        PID_data[12] = Kff_sep[0];
        PID_data[13] = Kff_sep[1];
        PID_data[14] = Kff_sep[2];
        PID_data[15] = Kff_sep[3];

        if (HAL_I2C_Mem_Write_IT(&hi2c1, EEPROM_ADDR, 0x30, I2C_MEMADD_SIZE_16BIT, PID_data, 16) == HAL_OK)
        {
            eepromWriteF = 0; // Clear the write flag after initiating the write operation
        }
        else
        {
            // Error handling if write operation fails
        }
    }
}

void EEPROMRead(uint8_t *Rdata,uint16_t len)
{
	if (eepromReadF && hi2c1.State == HAL_I2C_STATE_READY)
	{
		HAL_I2C_Mem_Read_IT(&hi2c1, EEPROM_ADDR, 0x30, I2C_MEMADD_SIZE_16BIT, Rdata, len);

		eepromReadF = 0;
	}
}

// I2C_LED_4

//void SPITxRx_readIO()
//{
//	SPITx[0] = 0b01000001;
//	SPITx[1] = 0x12;
//	SPITx[2] = 0;
//	SPITx[3] = 0;
//	HAL_I2C_Mem_Read_IT(hi2c, 0x20, 0x12, I2C_MEMADD_SIZE_16BIT, SwitchData, 8);
//	HAL_I2C_Master_Transmit_IT(&hi2c3, DevAddress, pData, Size)
//}

//void HAL_I2C_TxRxCpltCallback(I2C_HandleTypeDef *hspi)
//{
//	HAL_GPIO_WritePin(GPIOD, GPIO_PIN_2, 1); //CS dnSelect
//}

//SPI_LED_5
void SPITxRx_Setup()
{
	HAL_GPIO_WritePin(GPIOD, GPIO_PIN_2, 0); // CS Select
	HAL_Delay(1);
	HAL_GPIO_WritePin(GPIOD, GPIO_PIN_2, 1); // CS deSelect
	HAL_Delay(1);
}

void SPITxRx_readIO()
{
	if (HAL_GPIO_ReadPin(GPIOD, GPIO_PIN_2))
	{
		HAL_GPIO_WritePin(GPIOD, GPIO_PIN_2, 0);
		SPITx[0] = 0b01000001;
		SPITx[1] = 0x12;
		SPITx[2] = 0;
		SPITx[3] = 0;
		HAL_SPI_TransmitReceive_IT(&hspi3, SPITx, SPIRx, 4);
	}
}

void setOutputGPIOB()
{
	if (HAL_GPIO_ReadPin(GPIOD, GPIO_PIN_2))
	{
		HAL_GPIO_WritePin(GPIOD, GPIO_PIN_2, 0);
		SPITx[0] = 0b01000000;
		SPITx[1] = 0x01;
		SPITx[2] = 0b00000000;
		HAL_SPI_TransmitReceive_IT(&hspi3, SPITx, SPIRx, 3);
	}
}

void SPITxRx_writeIO()
{
	if (HAL_GPIO_ReadPin(GPIOD, GPIO_PIN_2))
	{
		// pattern1
		if(SPIRx[2] == 0b00000010)
		{
		HAL_GPIO_WritePin(GPIOD, GPIO_PIN_2, 0);
		SPITx[0] = 0b01000000;
		SPITx[1] = 0x13;
		SPITx[2] = 0b10101010;
		HAL_SPI_TransmitReceive_IT(&hspi3, SPITx, SPIRx, 3);
		HAL_Delay(500);

		HAL_GPIO_WritePin(GPIOD, GPIO_PIN_2, 0);
		SPITx[0] = 0b01000000;
		SPITx[1] = 0x13;
		SPITx[2] = 0b01010101;
		HAL_SPI_TransmitReceive_IT(&hspi3, SPITx, SPIRx, 3);
		HAL_Delay(500);
		}

		// no push button
		else if(SPIRx[2] == 0b00000011)
		{
		HAL_GPIO_WritePin(GPIOD, GPIO_PIN_2, 0);
		SPITx[0] = 0b01000000;
		SPITx[1] = 0x13;
		SPITx[2] = 0b11111111;
		HAL_SPI_TransmitReceive_IT(&hspi3, SPITx, SPIRx, 3);
		}

		// pattern2
		else if(SPIRx[2] == 0b00000001)
		{
		HAL_GPIO_WritePin(GPIOD, GPIO_PIN_2, 0);
		SPITx[0] = 0b01000000;
		SPITx[1] = 0x13;
		SPITx[2] = 0b00111111;
		HAL_SPI_TransmitReceive_IT(&hspi3, SPITx, SPIRx, 3);
		HAL_Delay(100);

		HAL_GPIO_WritePin(GPIOD, GPIO_PIN_2, 0);
		SPITx[0] = 0b01000000;
		SPITx[1] = 0x13;
		SPITx[2] = 0b11001111;
		HAL_SPI_TransmitReceive_IT(&hspi3, SPITx, SPIRx, 3);
		HAL_Delay(100);

		HAL_GPIO_WritePin(GPIOD, GPIO_PIN_2, 0);
		SPITx[0] = 0b01000000;
		SPITx[1] = 0x13;
		SPITx[2] = 0b11110011;
		HAL_SPI_TransmitReceive_IT(&hspi3, SPITx, SPIRx, 3);
		HAL_Delay(100);

		HAL_GPIO_WritePin(GPIOD, GPIO_PIN_2, 0);
		SPITx[0] = 0b01000000;
		SPITx[1] = 0x13;
		SPITx[2] = 0b11111100;
		HAL_SPI_TransmitReceive_IT(&hspi3, SPITx, SPIRx, 3);
		HAL_Delay(100);
		}
	}
}

void HAL_SPI_TxRxCpltCallback(SPI_HandleTypeDef *hspi)
{
	HAL_GPIO_WritePin(GPIOD, GPIO_PIN_2, 1); //CS dnSelect
}

void Set_SPI_LED()
{
	static uint32_t timestamp = 0;
	if(HAL_GetTick() > timestamp)
	{
		timestamp = HAL_GetTick() + 10;
		LEDstate++;
		LEDstate = LEDstate % 2;
		switch (LEDstate)
		{
		case 0:
		  SPITxRx_readIO();
		  break;
		case 1:
		  SPITxRx_writeIO();
		  break;
		}
	}
}

	//SPI_VOLT_ADC_6
//void HAL_GPIO_EXTI_Callback(uint16_t GPIO_Pin)
//{
//	if(GPIO_Pin == GPIO_PIN_13)
//	{
//		HAL_ADC_Start_DMA(&hadc1, (uint32_t*)&adcRawData, 30);
//	}
//}
//
//void voltage()
//{
//	sum_Voltage = 0;
//	for(int i=0;i<30;i++)
//	{
//		if(i%2 == 1)
//		{
//			Voltage = ((adcRawData[i]*3300)/4096);
//			sum_Voltage = sum_Voltage + Voltage;
//		}
//		else if (i%2 == 0)
//		{
//			Voltage = ((adcRawData[i]*3300)/4096);
//			sum_Voltage = sum_Voltage + Voltage;
//		}
//	}
//	avg_Voltage = sum_Voltage/10;
//}
//
//
//void SPI_voltage_set()
//{
//    // CS pulse
//    HAL_GPIO_WritePin(GPIOC, GPIO_PIN_0, GPIO_PIN_RESET);  // CS Select
//    HAL_GPIO_WritePin(GPIOC, GPIO_PIN_1, GPIO_PIN_RESET);
//    HAL_Delay(1);
//    HAL_GPIO_WritePin(GPIOC, GPIO_PIN_0, GPIO_PIN_SET);    // CS deSelect
//    HAL_GPIO_WritePin(GPIOC, GPIO_PIN_1, GPIO_PIN_SET);
//    HAL_Delay(1);
//}
//
//void write_voltage()
//{
//    if (HAL_GPIO_ReadPin(GPIOC, GPIO_PIN_0))
//    {
//        HAL_GPIO_WritePin(GPIOC, GPIO_PIN_0, GPIO_PIN_RESET);
//        HAL_GPIO_WritePin(GPIOC, GPIO_PIN_1, GPIO_PIN_RESET);
//
//        //uint16_t VOLTTx[16] = {1, 1, 1, 1, 1, 1, 1, 1, 1, 1, 1, 1, 1, 1, 0, 1};
//        uint16_t VOLTTx[16] = {1, 0, 1, 1, 1, 1, 1, 1, 1, 1, 1, 1, 1, 1, 1, 1};
//
//
//        HAL_SPI_Transmit_IT(&hspi2, (uint8_t*)VOLTTx, 16);
//    }
//}
//
//void HAL_SPI_TxRxCpltCallback(SPI_HandleTypeDef *hspi)
//{
//    HAL_GPIO_WritePin(GPIOC, GPIO_PIN_0, GPIO_PIN_SET);  // CS deSelect
//    HAL_GPIO_WritePin(GPIOC, GPIO_PIN_1, GPIO_PIN_SET);
//}
//
//void MCP4922_Select(void)
//{
//  HAL_GPIO_WritePin(GPIOC, GPIO_PIN_0, GPIO_PIN_RESET);  // Pull CS pin low
//}
//
//// Function to deselect the MCP4922 DAC
//void MCP4922_Deselect(void)
//{
//  HAL_GPIO_WritePin(GPIOC, GPIO_PIN_0, GPIO_PIN_SET);    // Pull CS pin high
//}
//
//uint16_t MCP4922_ConvertVoltage(float voltage)
//{
//
//  uint16_t digitalValue = (uint16_t)((voltage / 3300) * 4095);
//
//  uint16_t dataWord = 0;
//  dataWord |= (0 << 15);        // Leftmost bit is always 0
//  dataWord |= (0 << 14);        // Buffered output
//  dataWord |= (1 << 13);        // 1x gain
//  dataWord |= (1 << 12);        // Power on DAC output
//  dataWord |= (digitalValue & 0xFFF);  // 12-bit digital value
//
//  return dataWord;
//}
//
//void MCP4922_SetVoltage(float voltage)
//{
//  uint16_t dataWord = MCP4922_ConvertVoltage(voltage);
//
//  // Select MCP4922 DAC
//  MCP4922_Select();
//
//  // Transmit data word via SPI
//  HAL_SPI_Transmit(&hspi2, (uint8_t*)&dataWord, sizeof(dataWord), HAL_MAX_DELAY);
//
//  // Deselect MCP4922 DAC
//  MCP4922_Deselect();
//}

/* USER CODE END 4 */

void Error_Handler(void)
{
  __disable_irq();
  while (1)
  {
  }
}
